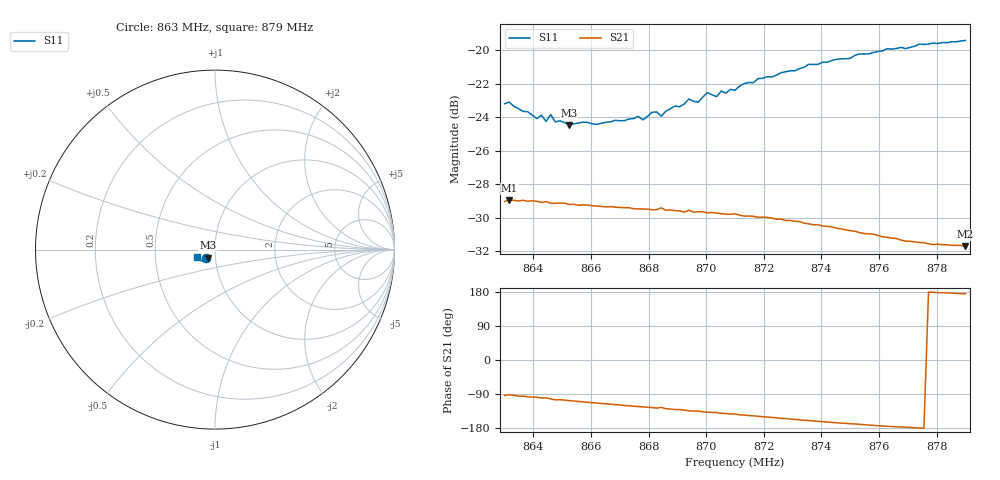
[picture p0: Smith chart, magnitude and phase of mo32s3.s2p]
# HZ S RI R 50
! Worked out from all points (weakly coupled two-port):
!   101 points, 863 MHz to 879 MHz, reference 50 ohm
!   highest |S21| = -28.96 dB at 863.16 MHz (marker M1); lowest = -31.7 dB at 879 MHz (marker M2)
!   lowest |S11| = -24.5 dB at 865.24 MHz (marker M3), VSWR 1.13, Z = 46 - j4.09 ohm
!   |S11| at or under -10 dB: start of sweep to end of sweep
!   S12 and S22 are empty: the file has one direction only
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8.63e8  -0.052 -0.0457  -0.0023 -0.0353  0 0  0 0
8.6316e8  -0.0547 -0.0437  -0.0011 -0.0356  0 0  0 0
8.6412e8  -0.0437 -0.0447  -0.0049 -0.035  0 0  0 0
8.6428e8  -0.0447 -0.0458  -0.00632 -0.0345  0 0  0 0
8.6444e8  -0.043 -0.0437  -0.00623 -0.0348  0 0  0 0
8.646e8  -0.046 -0.0449  -0.00759 -0.034  0 0  0 0
8.6476e8  -0.0427 -0.0437  -0.00906 -0.0337  0 0  0 0
8.6524e8  -0.0401 -0.0443  -0.0103 -0.033  0 0  0 0
8.6572e8  -0.039 -0.0469  -0.0121 -0.0323  0 0  0 0
8.678e8  -0.0363 -0.0502  -0.0186 -0.0279  0 0  0 0
8.6812e8  -0.0378 -0.0533  -0.0193 -0.0272  0 0  0 0
8.6844e8  -0.033 -0.0543  -0.0194 -0.0277  0 0  0 0
8.694e8  -0.0404 -0.059  -0.023 -0.024  0 0  0 0
8.6972e8  -0.0372 -0.0593  -0.0232 -0.0234  0 0  0 0
8.7004e8  -0.0428 -0.0614  -0.0241 -0.0221  0 0  0 0
8.7036e8  -0.0397 -0.0609  -0.0244 -0.0217  0 0  0 0
8.7052e8  -0.0432 -0.062  -0.0251 -0.0207  0 0  0 0
8.71e8  -0.0424 -0.063  -0.0257 -0.0198  0 0  0 0
8.718e8  -0.0498 -0.0655  -0.027 -0.0165  0 0  0 0
8.7372e8  -0.0611 -0.0671  -0.0284 -0.00995  0 0  0 0
8.7644e8  -0.0831 -0.0571  -0.0274 -0.00212  0 0  0 0
8.79e8  -0.0998 -0.0387  -0.0259 0.00241  0 0  0 0
